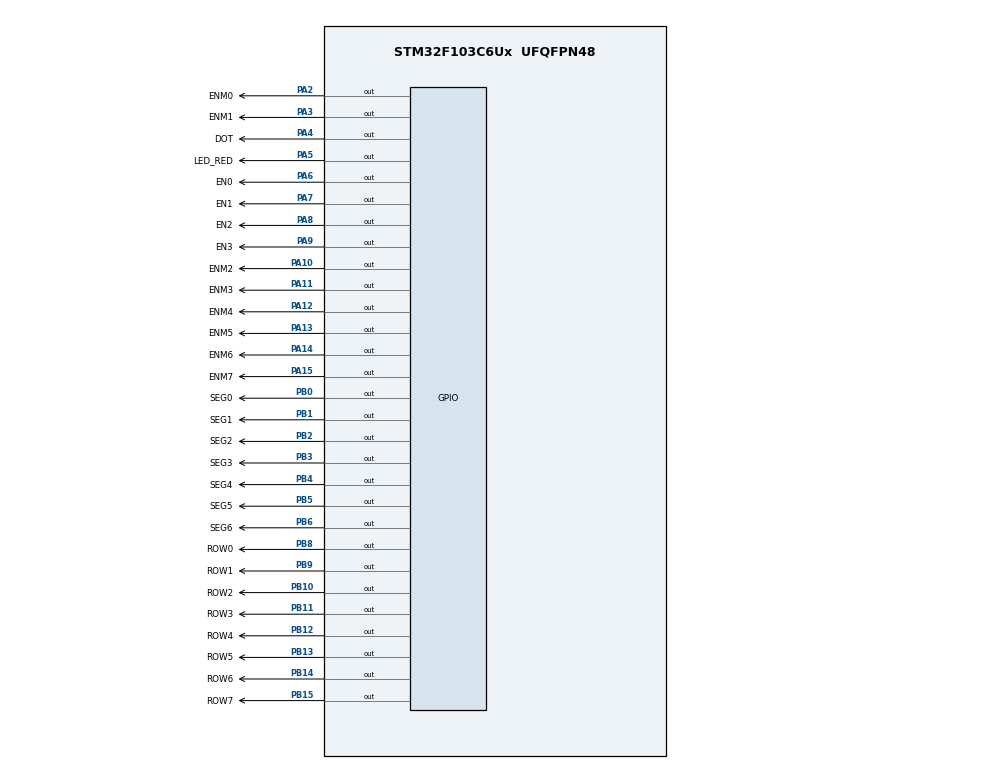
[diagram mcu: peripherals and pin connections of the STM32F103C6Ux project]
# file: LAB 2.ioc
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Mcu.Family=STM32F1
Mcu.Name=STM32F103C6Ux
Mcu.Package=UFQFPN48
NVIC.PriorityGroup=NVIC_PRIORITYGROUP_4
NVIC.TIM2_IRQn=true\:0\:0\:false\:false\:true\:true\:true
PA10.GPIO_Label=ENM2
PA10.Signal=GPIO_Output
PA11.GPIO_Label=ENM3
PA11.Signal=GPIO_Output
PA12.GPIO_Label=ENM4
PA12.Signal=GPIO_Output
PA13.GPIO_Label=ENM5
PA13.Signal=GPIO_Output
PA14.GPIO_Label=ENM6
PA14.Signal=GPIO_Output
PA15.GPIO_Label=ENM7
PA15.Signal=GPIO_Output
PA2.GPIO_Label=ENM0
PA2.Signal=GPIO_Output
PA3.GPIO_Label=ENM1
PA3.Signal=GPIO_Output
PA4.GPIO_Label=DOT
PA4.Signal=GPIO_Output
PA5.GPIO_Label=LED_RED
PA5.Signal=GPIO_Output
PA6.GPIO_Label=EN0
PA6.Signal=GPIO_Output
PA7.GPIO_Label=EN1
PA7.Signal=GPIO_Output
PA8.GPIO_Label=EN2
PA8.Signal=GPIO_Output
PA9.GPIO_Label=EN3
PA9.Signal=GPIO_Output
PB0.GPIO_Label=SEG0
PB0.Signal=GPIO_Output
PB1.GPIO_Label=SEG1
PB1.Signal=GPIO_Output
PB10.GPIO_Label=ROW2
PB10.Signal=GPIO_Output
PB11.GPIO_Label=ROW3
PB11.Signal=GPIO_Output
PB12.GPIO_Label=ROW4
PB12.Signal=GPIO_Output
PB13.GPIO_Label=ROW5
PB13.Signal=GPIO_Output
PB14.GPIO_Label=ROW6
PB14.Signal=GPIO_Output
PB15.GPIO_Label=ROW7
PB15.Signal=GPIO_Output
PB2.GPIO_Label=SEG2
PB2.Signal=GPIO_Output
PB3.GPIO_Label=SEG3
PB3.Signal=GPIO_Output
PB4.GPIO_Label=SEG4
PB4.Signal=GPIO_Output
PB5.GPIO_Label=SEG5
PB5.Signal=GPIO_Output
PB6.GPIO_Label=SEG6
PB6.Signal=GPIO_Output
PB8.GPIO_Label=ROW0
PB8.Signal=GPIO_Output
PB9.GPIO_Label=ROW1
PB9.Signal=GPIO_Output
ProjectManager.HeapSize=0x200
ProjectManager.StackSize=0x400
ProjectManager.TargetToolchain=STM32CubeIDE
RCC.APB1Freq_Value=8000000
RCC.APB2Freq_Value=8000000
TIM2.Period=9
TIM2.Prescaler=7999
VP_SYS_VS_ND.Mode=No_Debug
VP_TIM2_VS_ClockSourceINT.Mode=Internal
board=custom

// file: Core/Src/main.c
/* USER CODE BEGIN Header */
/**
  ******************************************************************************
  * @file           : main.c
  * @brief          : Main program body
  ******************************************************************************
  * @attention
  *
  * <h2><center>&copy; Copyright (c) 2023 STMicroelectronics.
  * All rights reserved.</center></h2>
  *
  * This software component is licensed by ST under BSD 3-Clause license,
  * the "License"; You may not use this file except in compliance with the
  * License. You may obtain a copy of the License at:
  *                        opensource.org/licenses/BSD-3-Clause
  *
  ******************************************************************************
  */
/* USER CODE END Header */
#include "main.h"

TIM_HandleTypeDef htim2;

void SystemClock_Config(void);
static void MX_GPIO_Init(void);
static void MX_TIM2_Init(void);

/* USER CODE BEGIN 0 */
void display7SEG(int num){
	HAL_GPIO_WritePin ( SEG0_GPIO_Port , SEG0_Pin,GPIO_PIN_SET ) ;
	HAL_GPIO_WritePin ( SEG1_GPIO_Port , SEG1_Pin,GPIO_PIN_SET ) ;
	HAL_GPIO_WritePin ( SEG2_GPIO_Port , SEG2_Pin,GPIO_PIN_SET ) ;
	HAL_GPIO_WritePin ( SEG3_GPIO_Port , SEG3_Pin,GPIO_PIN_SET ) ;
	HAL_GPIO_WritePin ( SEG4_GPIO_Port , SEG4_Pin,GPIO_PIN_SET ) ;
	HAL_GPIO_WritePin ( SEG5_GPIO_Port , SEG5_Pin,GPIO_PIN_SET )  ;
	HAL_GPIO_WritePin ( SEG6_GPIO_Port , SEG6_Pin,GPIO_PIN_SET ) ;

	if(num == 0){
		HAL_GPIO_TogglePin ( SEG0_GPIO_Port , SEG0_Pin ) ;
		HAL_GPIO_TogglePin ( SEG1_GPIO_Port , SEG1_Pin ) ;
		HAL_GPIO_TogglePin ( SEG2_GPIO_Port , SEG2_Pin ) ;
		HAL_GPIO_TogglePin ( SEG3_GPIO_Port , SEG3_Pin ) ;
		HAL_GPIO_TogglePin ( SEG4_GPIO_Port , SEG4_Pin ) ;
		HAL_GPIO_TogglePin ( SEG5_GPIO_Port , SEG5_Pin ) ;
	}
	else if (num == 1){
		HAL_GPIO_TogglePin ( SEG1_GPIO_Port , SEG1_Pin ) ;
		HAL_GPIO_TogglePin ( SEG2_GPIO_Port , SEG2_Pin ) ;
	}
	else if (num == 2){
		HAL_GPIO_TogglePin ( SEG0_GPIO_Port , SEG0_Pin ) ;
		HAL_GPIO_TogglePin ( SEG1_GPIO_Port , SEG1_Pin ) ;
		HAL_GPIO_TogglePin ( SEG3_GPIO_Port , SEG3_Pin ) ;
		HAL_GPIO_TogglePin ( SEG4_GPIO_Port , SEG4_Pin ) ;
		HAL_GPIO_TogglePin ( SEG6_GPIO_Port , SEG6_Pin ) ;
	}
	else if (num == 3){
		HAL_GPIO_TogglePin ( SEG0_GPIO_Port , SEG0_Pin ) ;
		HAL_GPIO_TogglePin ( SEG1_GPIO_Port , SEG1_Pin ) ;
		HAL_GPIO_TogglePin ( SEG2_GPIO_Port , SEG2_Pin ) ;
		HAL_GPIO_TogglePin ( SEG3_GPIO_Port , SEG3_Pin ) ;
		HAL_GPIO_TogglePin ( SEG6_GPIO_Port , SEG6_Pin ) ;
	}
	else if (num == 4){
		HAL_GPIO_TogglePin ( SEG1_GPIO_Port , SEG1_Pin ) ;
		HAL_GPIO_TogglePin ( SEG2_GPIO_Port , SEG2_Pin ) ;
		HAL_GPIO_TogglePin ( SEG5_GPIO_Port , SEG5_Pin ) ;
		HAL_GPIO_TogglePin ( SEG6_GPIO_Port , SEG6_Pin ) ;
	}
	else if (num == 5){
		HAL_GPIO_TogglePin ( SEG0_GPIO_Port , SEG0_Pin ) ;
		HAL_GPIO_TogglePin ( SEG2_GPIO_Port , SEG2_Pin ) ;
		HAL_GPIO_TogglePin ( SEG3_GPIO_Port , SEG3_Pin ) ;
		HAL_GPIO_TogglePin ( SEG5_GPIO_Port , SEG5_Pin ) ;
		HAL_GPIO_TogglePin ( SEG6_GPIO_Port , SEG6_Pin ) ;
	}
	else if (num == 6){
		HAL_GPIO_TogglePin ( SEG0_GPIO_Port , SEG0_Pin ) ;
		HAL_GPIO_TogglePin ( SEG2_GPIO_Port , SEG2_Pin ) ;
		HAL_GPIO_TogglePin ( SEG3_GPIO_Port , SEG3_Pin ) ;
		HAL_GPIO_TogglePin ( SEG4_GPIO_Port , SEG4_Pin ) ;
		HAL_GPIO_TogglePin ( SEG5_GPIO_Port , SEG5_Pin ) ;
		HAL_GPIO_TogglePin ( SEG6_GPIO_Port , SEG6_Pin ) ;
	}
	else if (num == 7){
		HAL_GPIO_TogglePin ( SEG0_GPIO_Port , SEG0_Pin ) ;
		HAL_GPIO_TogglePin ( SEG1_GPIO_Port , SEG1_Pin ) ;
		HAL_GPIO_TogglePin ( SEG2_GPIO_Port , SEG2_Pin ) ;
	}
	else if (num == 8){
		HAL_GPIO_TogglePin ( SEG0_GPIO_Port , SEG0_Pin ) ;
		HAL_GPIO_TogglePin ( SEG1_GPIO_Port , SEG1_Pin ) ;
		HAL_GPIO_TogglePin ( SEG2_GPIO_Port , SEG2_Pin ) ;
		HAL_GPIO_TogglePin ( SEG3_GPIO_Port , SEG3_Pin ) ;
		HAL_GPIO_TogglePin ( SEG4_GPIO_Port , SEG4_Pin ) ;
		HAL_GPIO_TogglePin ( SEG5_GPIO_Port , SEG5_Pin ) ;
		HAL_GPIO_TogglePin ( SEG6_GPIO_Port , SEG6_Pin ) ;
	}
	else if (num == 9){
		HAL_GPIO_TogglePin ( SEG0_GPIO_Port , SEG0_Pin ) ;
		HAL_GPIO_TogglePin ( SEG1_GPIO_Port , SEG1_Pin ) ;
		HAL_GPIO_TogglePin ( SEG2_GPIO_Port , SEG2_Pin ) ;
		//HAL_GPIO_TogglePin ( SEG4_GPIO_Port , SEG4_Pin ) ;
		HAL_GPIO_TogglePin ( SEG5_GPIO_Port , SEG5_Pin ) ;
		HAL_GPIO_TogglePin ( SEG6_GPIO_Port , SEG6_Pin ) ;
	}
}

void display8x8Mat(char one[]){
	HAL_GPIO_WritePin ( ROW0_GPIO_Port , ROW0_Pin,GPIO_PIN_SET ) ;
	HAL_GPIO_WritePin ( ROW1_GPIO_Port , ROW1_Pin,GPIO_PIN_SET ) ;
	HAL_GPIO_WritePin ( ROW2_GPIO_Port , ROW2_Pin,GPIO_PIN_SET ) ;
	HAL_GPIO_WritePin ( ROW3_GPIO_Port , ROW3_Pin,GPIO_PIN_SET ) ;
	HAL_GPIO_WritePin ( ROW4_GPIO_Port , ROW4_Pin,GPIO_PIN_SET ) ;
	HAL_GPIO_WritePin ( ROW5_GPIO_Port , ROW5_Pin,GPIO_PIN_SET ) ;
	HAL_GPIO_WritePin ( ROW6_GPIO_Port , ROW6_Pin,GPIO_PIN_SET ) ;
	HAL_GPIO_WritePin ( ROW7_GPIO_Port , ROW7_Pin,GPIO_PIN_SET ) ;
	switch(one[3])
	        {
	            case '0':
	                break;
	            case '1':
	            	HAL_GPIO_TogglePin ( ROW7_GPIO_Port , ROW7_Pin ) ;
	                break;
	            case '2':
	            	HAL_GPIO_TogglePin ( ROW6_GPIO_Port , ROW6_Pin ) ;
	                break;
	            case '3':
	            	HAL_GPIO_TogglePin ( ROW6_GPIO_Port , ROW6_Pin ) ;
	            	HAL_GPIO_TogglePin ( ROW7_GPIO_Port , ROW7_Pin ) ;
	                break;
	            case '4':
	            	HAL_GPIO_TogglePin ( ROW5_GPIO_Port , ROW5_Pin ) ;
	                break;
	            case '5':
	            	HAL_GPIO_TogglePin ( ROW5_GPIO_Port , ROW5_Pin ) ;
	            	HAL_GPIO_TogglePin ( ROW7_GPIO_Port , ROW7_Pin ) ;
	                break;
	            case '6':
	            	HAL_GPIO_TogglePin ( ROW5_GPIO_Port , ROW5_Pin ) ;
					HAL_GPIO_TogglePin ( ROW6_GPIO_Port , ROW6_Pin ) ;
	                break;
	            case '7':
	            	HAL_GPIO_TogglePin ( ROW5_GPIO_Port , ROW5_Pin ) ;
	            	HAL_GPIO_TogglePin ( ROW6_GPIO_Port , ROW6_Pin ) ;
	            	HAL_GPIO_TogglePin ( ROW7_GPIO_Port , ROW7_Pin ) ;
	                break;
	            case '8':
	            	HAL_GPIO_TogglePin ( ROW4_GPIO_Port , ROW4_Pin ) ;
	                break;
	            case '9':
	            	HAL_GPIO_TogglePin ( ROW4_GPIO_Port , ROW4_Pin ) ;
	            	HAL_GPIO_TogglePin ( ROW7_GPIO_Port , ROW7_Pin ) ;
	                break;
	            case 'A':
	            case 'a':
	            	HAL_GPIO_TogglePin ( ROW4_GPIO_Port , ROW4_Pin ) ;
	            	HAL_GPIO_TogglePin ( ROW6_GPIO_Port , ROW6_Pin ) ;
	                break;
	            case 'B':
	            case 'b':
	            	HAL_GPIO_TogglePin ( ROW4_GPIO_Port , ROW4_Pin ) ;
	            	HAL_GPIO_TogglePin ( ROW6_GPIO_Port , ROW6_Pin ) ;
	            	HAL_GPIO_TogglePin ( ROW7_GPIO_Port , ROW7_Pin ) ;
	                break;
	            case 'C':
	            case 'c':
	            	HAL_GPIO_TogglePin ( ROW4_GPIO_Port , ROW4_Pin ) ;
	            	HAL_GPIO_TogglePin ( ROW5_GPIO_Port , ROW5_Pin ) ;
	                break;
	            case 'D':
	            case 'd':
	            	HAL_GPIO_TogglePin ( ROW4_GPIO_Port , ROW4_Pin ) ;
	            	HAL_GPIO_TogglePin ( ROW5_GPIO_Port , ROW5_Pin ) ;
	            	HAL_GPIO_TogglePin ( ROW7_GPIO_Port , ROW7_Pin ) ;
	                break;
	            case 'E':
	            case 'e':
	            	HAL_GPIO_TogglePin ( ROW4_GPIO_Port , ROW4_Pin ) ;
	            	HAL_GPIO_TogglePin ( ROW5_GPIO_Port , ROW5_Pin ) ;
	            	HAL_GPIO_TogglePin ( ROW6_GPIO_Port , ROW6_Pin ) ;
	                break;
	            case 'F':
	            case 'f':
	            	HAL_GPIO_TogglePin ( ROW4_GPIO_Port , ROW4_Pin ) ;
	            	HAL_GPIO_TogglePin ( ROW5_GPIO_Port , ROW5_Pin ) ;
	            	HAL_GPIO_TogglePin ( ROW6_GPIO_Port , ROW6_Pin ) ;
	            	HAL_GPIO_TogglePin ( ROW7_GPIO_Port , ROW7_Pin ) ;
	                break;
	        }
	switch(one[2])
		        {
		            case '0':
		                break;
		            case '1':
		            	HAL_GPIO_TogglePin ( ROW3_GPIO_Port , ROW3_Pin ) ;
		                break;
		            case '2':
		            	HAL_GPIO_TogglePin ( ROW2_GPIO_Port , ROW2_Pin ) ;
		                break;
		            case '3':
		            	HAL_GPIO_TogglePin ( ROW2_GPIO_Port , ROW2_Pin ) ;
		            	HAL_GPIO_TogglePin ( ROW3_GPIO_Port , ROW3_Pin ) ;
		                break;
		            case '4':
		            	HAL_GPIO_TogglePin ( ROW1_GPIO_Port , ROW1_Pin ) ;
		                break;
		            case '5':
		            	HAL_GPIO_TogglePin ( ROW1_GPIO_Port , ROW1_Pin ) ;
		            	HAL_GPIO_TogglePin ( ROW3_GPIO_Port , ROW3_Pin ) ;
		                break;
		            case '6':
		            	HAL_GPIO_TogglePin ( ROW1_GPIO_Port , ROW1_Pin ) ;
						HAL_GPIO_TogglePin ( ROW2_GPIO_Port , ROW2_Pin ) ;
		                break;
		            case '7':
		            	HAL_GPIO_TogglePin ( ROW1_GPIO_Port , ROW1_Pin ) ;
		            	HAL_GPIO_TogglePin ( ROW2_GPIO_Port , ROW2_Pin ) ;
		            	HAL_GPIO_TogglePin ( ROW3_GPIO_Port , ROW3_Pin ) ;
		                break;
		            case '8':
		            	HAL_GPIO_TogglePin ( ROW0_GPIO_Port , ROW0_Pin ) ;
		                break;
		            case '9':
		            	HAL_GPIO_TogglePin ( ROW0_GPIO_Port , ROW0_Pin ) ;
		            	HAL_GPIO_TogglePin ( ROW3_GPIO_Port , ROW3_Pin ) ;
		                break;
		            case 'A':
		            case 'a':
		            	HAL_GPIO_TogglePin ( ROW0_GPIO_Port , ROW0_Pin ) ;
		            	HAL_GPIO_TogglePin ( ROW2_GPIO_Port , ROW2_Pin ) ;
		                break;
		            case 'B':
		            case 'b':
		            	HAL_GPIO_TogglePin ( ROW0_GPIO_Port , ROW0_Pin ) ;
		            	HAL_GPIO_TogglePin ( ROW2_GPIO_Port , ROW2_Pin ) ;
		            	HAL_GPIO_TogglePin ( ROW3_GPIO_Port , ROW3_Pin ) ;
		                break;
		            case 'C':
		            case 'c':
		            	HAL_GPIO_TogglePin ( ROW0_GPIO_Port , ROW0_Pin ) ;
		            	HAL_GPIO_TogglePin ( ROW1_GPIO_Port , ROW1_Pin ) ;
		                break;
		            case 'D':
		            case 'd':
		            	HAL_GPIO_TogglePin ( ROW0_GPIO_Port , ROW0_Pin ) ;
		            	HAL_GPIO_TogglePin ( ROW1_GPIO_Port , ROW1_Pin ) ;
		            	HAL_GPIO_TogglePin ( ROW3_GPIO_Port , ROW3_Pin ) ;
		                break;
		            case 'E':
		            case 'e':
		            	HAL_GPIO_TogglePin ( ROW0_GPIO_Port , ROW0_Pin ) ;
		            	HAL_GPIO_TogglePin ( ROW1_GPIO_Port , ROW1_Pin ) ;
		            	HAL_GPIO_TogglePin ( ROW2_GPIO_Port , ROW2_Pin ) ;
		                break;
		            case 'F':
		            case 'f':
		            	HAL_GPIO_TogglePin ( ROW0_GPIO_Port , ROW0_Pin ) ;
		            	HAL_GPIO_TogglePin ( ROW1_GPIO_Port , ROW1_Pin ) ;
		            	HAL_GPIO_TogglePin ( ROW2_GPIO_Port , ROW2_Pin ) ;
		            	HAL_GPIO_TogglePin ( ROW3_GPIO_Port , ROW3_Pin ) ;
		                break;
		        }
}

const int MAX_LED_MATRIX = 8;
int index_led_matrix = 0;
char matrix_buffer [][8] = {"0x00","0x66","0xff","0xff","0xff","0x7e","0x3c","0x18" };

void update8x8Mat ( int index ) {
		display8x8Mat(matrix_buffer[index]);
}

const int MAX_LED = 4;
int index_led = 0;
int led_buffer [4] = {1 , 2 , 3 , 0};

void update7SEG ( int index ) {
switch ( index ) {
	case 0:
// Display the first 7 SEG with led_buffer [0]
		display7SEG(led_buffer[0]);
		break ;
	case 1:
// Display the second 7 SEG with led_buffer [1]
		display7SEG(led_buffer[1]);
		break ;
	case 2:
// Display the third 7 SEG with led_buffer [2]
		display7SEG(led_buffer[2]);
		break ;
	case 3:
// Display the forth 7 SEG with led_buffer [3]
		display7SEG(led_buffer[3]);
		break ;
	default :
		break ;
	}
}

void updateClockBuffer (int hour, int minute){
	led_buffer[0] = hour / 10;
	led_buffer[1] =  hour % 10;
	led_buffer[2] =  minute /10;
	led_buffer[3] =  minute % 10;
}

int timer0_counter = 0;
int timer0_flag = 0;
int TIMER_CYCLE = 10;

void setTimer0 ( int duration ){
	timer0_counter = duration / TIMER_CYCLE ;
	timer0_flag = 0;
}
void timer_run (){
if( timer0_counter > 0){
	timer0_counter --;
	if( timer0_counter == 0) {timer0_flag = 1;}
	}
}

/* USER CODE END 0 */

int main(void)
{

  /* MCU Configuration--------------------------------------------------------*/

  /* Reset of all peripherals, Initializes the Flash interface and the Systick. */
  HAL_Init();

  /* Configure the system clock */
  SystemClock_Config();

  /* USER CODE BEGIN SysInit */

  MX_GPIO_Init();
  MX_TIM2_Init();
  /* USER CODE END SysInit */

  /* Initialize all configured peripherals */
  MX_GPIO_Init();
  MX_TIM2_Init();
  /* USER CODE BEGIN 2 */
  	int hour = 15, minute = 8, second = 50;
	HAL_GPIO_WritePin ( SEG0_GPIO_Port , SEG0_Pin,GPIO_PIN_SET ) ;
	HAL_GPIO_WritePin ( SEG1_GPIO_Port , SEG1_Pin,GPIO_PIN_SET ) ;
	HAL_GPIO_WritePin ( SEG2_GPIO_Port , SEG2_Pin,GPIO_PIN_SET ) ;
	HAL_GPIO_WritePin ( SEG3_GPIO_Port , SEG3_Pin,GPIO_PIN_SET ) ;
	HAL_GPIO_WritePin ( SEG4_GPIO_Port , SEG4_Pin,GPIO_PIN_SET ) ;
	HAL_GPIO_WritePin ( SEG5_GPIO_Port , SEG5_Pin,GPIO_PIN_SET ) ;
	HAL_GPIO_WritePin ( SEG6_GPIO_Port , SEG6_Pin,GPIO_PIN_SET ) ;
	HAL_GPIO_WritePin ( EN0_GPIO_Port , EN0_Pin,GPIO_PIN_SET ) ;
	HAL_GPIO_WritePin ( EN1_GPIO_Port , EN1_Pin,GPIO_PIN_SET ) ;
	HAL_GPIO_WritePin ( EN2_GPIO_Port , EN2_Pin,GPIO_PIN_SET ) ;
	HAL_GPIO_WritePin ( EN3_GPIO_Port , EN3_Pin,GPIO_PIN_SET ) ;
	setTimer0 (100) ;
	int flip = 0;
	int flip2 = 0;
  HAL_TIM_Base_Start_IT(&htim2);
  /* USER CODE END 2 */

  /* Infinite loop */
  /* USER CODE BEGIN WHILE */
  while (1)
  {
	  if(timer0_flag == 1) {
			HAL_GPIO_WritePin ( EN0_GPIO_Port , EN0_Pin,GPIO_PIN_SET ) ;
			HAL_GPIO_WritePin ( EN1_GPIO_Port , EN1_Pin,GPIO_PIN_SET ) ;
			HAL_GPIO_WritePin ( EN2_GPIO_Port , EN2_Pin,GPIO_PIN_SET ) ;
			HAL_GPIO_WritePin ( EN3_GPIO_Port , EN3_Pin,GPIO_PIN_SET ) ;

			  if(flip == 0){
				  HAL_GPIO_TogglePin ( EN0_GPIO_Port , EN0_Pin ) ;
				  update7SEG(flip);
				  flip = 1;
				  setTimer0 (250);
			  }
			  else if(flip == 1){
				  HAL_GPIO_TogglePin ( EN1_GPIO_Port , EN1_Pin ) ;
				  update7SEG(flip);
				  flip = 2;
				  setTimer0 (250);
			  }
			  else if(flip == 2){
				  HAL_GPIO_TogglePin ( EN2_GPIO_Port , EN2_Pin ) ;
				  update7SEG(flip);
				  flip = 3;
				  setTimer0 (250);
			  }
			  else if(flip == 3){
				  HAL_GPIO_TogglePin ( EN3_GPIO_Port , EN3_Pin ) ;
				  update7SEG(flip);
				  flip = 0;
				  setTimer0 (250);
			  }

			  if( flip == 3){
					second++;
					 if ( second >= 60) {
						 second = 0;
						 minute ++;
					 }
					 if( minute >= 60) {
						 minute = 0;
						 hour ++;
					 }
					 if( hour >=24){
						 hour = 0;
					 }
					 updateClockBuffer (hour,minute);
					 HAL_GPIO_TogglePin ( LED_RED_GPIO_Port , LED_RED_Pin );
					 HAL_GPIO_TogglePin ( DOT_GPIO_Port , DOT_Pin );
					 //setTimer0 (250) ;
			  }
				HAL_GPIO_WritePin ( ENM0_GPIO_Port , ENM0_Pin,GPIO_PIN_SET ) ;
				HAL_GPIO_WritePin ( ENM1_GPIO_Port , ENM1_Pin,GPIO_PIN_SET ) ;
				HAL_GPIO_WritePin ( ENM2_GPIO_Port , ENM2_Pin,GPIO_PIN_SET ) ;
				HAL_GPIO_WritePin ( ENM3_GPIO_Port , ENM3_Pin,GPIO_PIN_SET ) ;
				HAL_GPIO_WritePin ( ENM4_GPIO_Port , ENM4_Pin,GPIO_PIN_SET ) ;
				HAL_GPIO_WritePin ( ENM5_GPIO_Port , ENM5_Pin,GPIO_PIN_SET ) ;
				HAL_GPIO_WritePin ( ENM6_GPIO_Port , ENM6_Pin,GPIO_PIN_SET ) ;
				HAL_GPIO_WritePin ( ENM7_GPIO_Port , ENM7_Pin,GPIO_PIN_SET ) ;
			  if(flip2 == 0){
				  HAL_GPIO_TogglePin ( ENM0_GPIO_Port , ENM0_Pin ) ;
				  update8x8Mat(flip2);
			  	  flip2 = 1;
			  }
			  else if(flip2 == 1){
				  HAL_GPIO_TogglePin ( ENM1_GPIO_Port , ENM1_Pin ) ;
				  update8x8Mat(flip2);
			  	  flip2 = 2;
			  }
			  else if(flip2 == 2){
				  HAL_GPIO_TogglePin ( ENM2_GPIO_Port , ENM2_Pin ) ;
				  update8x8Mat(flip2);
			  	  flip2 = 3;
			  }
			  else if(flip2 == 3){
			  	  HAL_GPIO_TogglePin ( ENM3_GPIO_Port , ENM3_Pin ) ;
			  	update8x8Mat(flip2);
			   	  flip2 = 4;
			  }
			  else if(flip2 == 4){
				  HAL_GPIO_TogglePin ( ENM4_GPIO_Port , ENM4_Pin ) ;
				  update8x8Mat(flip2);
			  	  flip2 = 5;
			  }
			  else if(flip2 == 5){
			  	  HAL_GPIO_TogglePin ( ENM5_GPIO_Port , ENM5_Pin ) ;
			  	update8x8Mat(flip2);
			   	  flip2 = 6;
			  }
			  else if(flip2 == 6){
				  HAL_GPIO_TogglePin ( ENM6_GPIO_Port , ENM6_Pin ) ;
				  update8x8Mat(flip2);
			   	  flip2 = 7;
			  }
			  else if(flip2 == 7){
			  	  HAL_GPIO_TogglePin ( ENM7_GPIO_Port , ENM7_Pin ) ;
			  	update8x8Mat(flip2);
			   	  flip2 = 0;
			  }
	  	  }
	  }
  }
    /* USER CODE END WHILE */

void SystemClock_Config(void)
{
  RCC_OscInitTypeDef RCC_OscInitStruct = {0};
  RCC_ClkInitTypeDef RCC_ClkInitStruct = {0};

  /** Initializes the RCC Oscillators according to the specified parameters
  * in the RCC_OscInitTypeDef structure.
  */
  RCC_OscInitStruct.OscillatorType = RCC_OSCILLATORTYPE_HSI;
  RCC_OscInitStruct.HSIState = RCC_HSI_ON;
  RCC_OscInitStruct.HSICalibrationValue = RCC_HSICALIBRATION_DEFAULT;
  RCC_OscInitStruct.PLL.PLLState = RCC_PLL_NONE;
  if (HAL_RCC_OscConfig(&RCC_OscInitStruct) != HAL_OK)
  {
    Error_Handler();
  }
  /** Initializes the CPU, AHB and APB buses clocks
  */
  RCC_ClkInitStruct.ClockType = RCC_CLOCKTYPE_HCLK|RCC_CLOCKTYPE_SYSCLK
                              |RCC_CLOCKTYPE_PCLK1|RCC_CLOCKTYPE_PCLK2;
  RCC_ClkInitStruct.SYSCLKSource = RCC_SYSCLKSOURCE_HSI;
  RCC_ClkInitStruct.AHBCLKDivider = RCC_SYSCLK_DIV1;
  RCC_ClkInitStruct.APB1CLKDivider = RCC_HCLK_DIV1;
  RCC_ClkInitStruct.APB2CLKDivider = RCC_HCLK_DIV1;

  if (HAL_RCC_ClockConfig(&RCC_ClkInitStruct, FLASH_LATENCY_0) != HAL_OK)
  {
    Error_Handler();
  }
}

static void MX_TIM2_Init(void)
{

  TIM_ClockConfigTypeDef sClockSourceConfig = {0};
  TIM_MasterConfigTypeDef sMasterConfig = {0};

  htim2.Instance = TIM2;
  htim2.Init.Prescaler = 7999;
  htim2.Init.CounterMode = TIM_COUNTERMODE_UP;
  htim2.Init.Period = 9;
  htim2.Init.ClockDivision = TIM_CLOCKDIVISION_DIV1;
  htim2.Init.AutoReloadPreload = TIM_AUTORELOAD_PRELOAD_DISABLE;
  if (HAL_TIM_Base_Init(&htim2) != HAL_OK)
  {
    Error_Handler();
  }
  sClockSourceConfig.ClockSource = TIM_CLOCKSOURCE_INTERNAL;
  if (HAL_TIM_ConfigClockSource(&htim2, &sClockSourceConfig) != HAL_OK)
  {
    Error_Handler();
  }
  sMasterConfig.MasterOutputTrigger = TIM_TRGO_RESET;
  sMasterConfig.MasterSlaveMode = TIM_MASTERSLAVEMODE_DISABLE;
  if (HAL_TIMEx_MasterConfigSynchronization(&htim2, &sMasterConfig) != HAL_OK)
  {
    Error_Handler();
  }

}

static void MX_GPIO_Init(void)
{
  GPIO_InitTypeDef GPIO_InitStruct = {0};

  /* GPIO Ports Clock Enable */
  __HAL_RCC_GPIOA_CLK_ENABLE();
  __HAL_RCC_GPIOB_CLK_ENABLE();

  /*Configure GPIO pin Output Level */
  HAL_GPIO_WritePin(GPIOA, ENM0_Pin|ENM1_Pin|DOT_Pin|LED_RED_Pin
                          |EN0_Pin|EN1_Pin|EN2_Pin|EN3_Pin
                          |ENM2_Pin|ENM3_Pin|ENM4_Pin|ENM5_Pin
                          |ENM6_Pin|ENM7_Pin, GPIO_PIN_RESET);

  /*Configure GPIO pin Output Level */
  HAL_GPIO_WritePin(GPIOB, SEG0_Pin|SEG1_Pin|SEG2_Pin|ROW2_Pin
                          |ROW3_Pin|ROW4_Pin|ROW5_Pin|ROW6_Pin
                          |ROW7_Pin|SEG3_Pin|SEG4_Pin|SEG5_Pin
                          |SEG6_Pin|ROW0_Pin|ROW1_Pin, GPIO_PIN_RESET);

  /*Configure GPIO pins : ENM0_Pin ENM1_Pin DOT_Pin LED_RED_Pin
                           EN0_Pin EN1_Pin EN2_Pin EN3_Pin
                           ENM2_Pin ENM3_Pin ENM4_Pin ENM5_Pin
                           ENM6_Pin ENM7_Pin */
  GPIO_InitStruct.Pin = ENM0_Pin|ENM1_Pin|DOT_Pin|LED_RED_Pin
                          |EN0_Pin|EN1_Pin|EN2_Pin|EN3_Pin
                          |ENM2_Pin|ENM3_Pin|ENM4_Pin|ENM5_Pin
                          |ENM6_Pin|ENM7_Pin;
  GPIO_InitStruct.Mode = GPIO_MODE_OUTPUT_PP;
  GPIO_InitStruct.Pull = GPIO_NOPULL;
  GPIO_InitStruct.Speed = GPIO_SPEED_FREQ_LOW;
  HAL_GPIO_Init(GPIOA, &GPIO_InitStruct);

  /*Configure GPIO pins : SEG0_Pin SEG1_Pin SEG2_Pin ROW2_Pin
                           ROW3_Pin ROW4_Pin ROW5_Pin ROW6_Pin
                           ROW7_Pin SEG3_Pin SEG4_Pin SEG5_Pin
                           SEG6_Pin ROW0_Pin ROW1_Pin */
  GPIO_InitStruct.Pin = SEG0_Pin|SEG1_Pin|SEG2_Pin|ROW2_Pin
                          |ROW3_Pin|ROW4_Pin|ROW5_Pin|ROW6_Pin
                          |ROW7_Pin|SEG3_Pin|SEG4_Pin|SEG5_Pin
                          |SEG6_Pin|ROW0_Pin|ROW1_Pin;
  GPIO_InitStruct.Mode = GPIO_MODE_OUTPUT_PP;
  GPIO_InitStruct.Pull = GPIO_NOPULL;
  GPIO_InitStruct.Speed = GPIO_SPEED_FREQ_LOW;
  HAL_GPIO_Init(GPIOB, &GPIO_InitStruct);

}

/* USER CODE BEGIN 4 */
int counter = 100;
void HAL_TIM_PeriodElapsedCallback(TIM_HandleTypeDef*htim)
{
timer_run ();
/*counter --;
	if (counter <= 0){counter = 100;}
	if( counter % 25 == 1) {
		HAL_GPIO_WritePin ( EN0_GPIO_Port , EN0_Pin,GPIO_PIN_SET ) ;
		HAL_GPIO_WritePin ( EN1_GPIO_Port , EN1_Pin,GPIO_PIN_SET ) ;
		HAL_GPIO_WritePin ( EN2_GPIO_Port , EN2_Pin,GPIO_PIN_SET ) ;
		HAL_GPIO_WritePin ( EN3_GPIO_Port , EN3_Pin,GPIO_PIN_SET ) ;
		if (flip == 0){
			HAL_GPIO_TogglePin ( EN0_GPIO_Port , EN0_Pin ) ;
			update7SEG(flip);
			flip = 1;
		}
		else if (flip == 1){
			HAL_GPIO_TogglePin ( EN1_GPIO_Port , EN1_Pin ) ;
			update7SEG(flip);
			flip = 2;
		}
		else if (flip == 2){
			HAL_GPIO_TogglePin ( EN2_GPIO_Port , EN2_Pin ) ;
			update7SEG(flip);
			flip = 3;
		}
		else if (flip == 3){
			HAL_GPIO_TogglePin ( EN3_GPIO_Port , EN3_Pin ) ;
			update7SEG(flip);
			flip = 0;
		}
	}*/

}

/* USER CODE END 4 */

void Error_Handler(void)
{
  __disable_irq();
  while (1)
  {
  }
}

/************************ (C) COPYRIGHT STMicroelectronics *****END OF FILE****/
